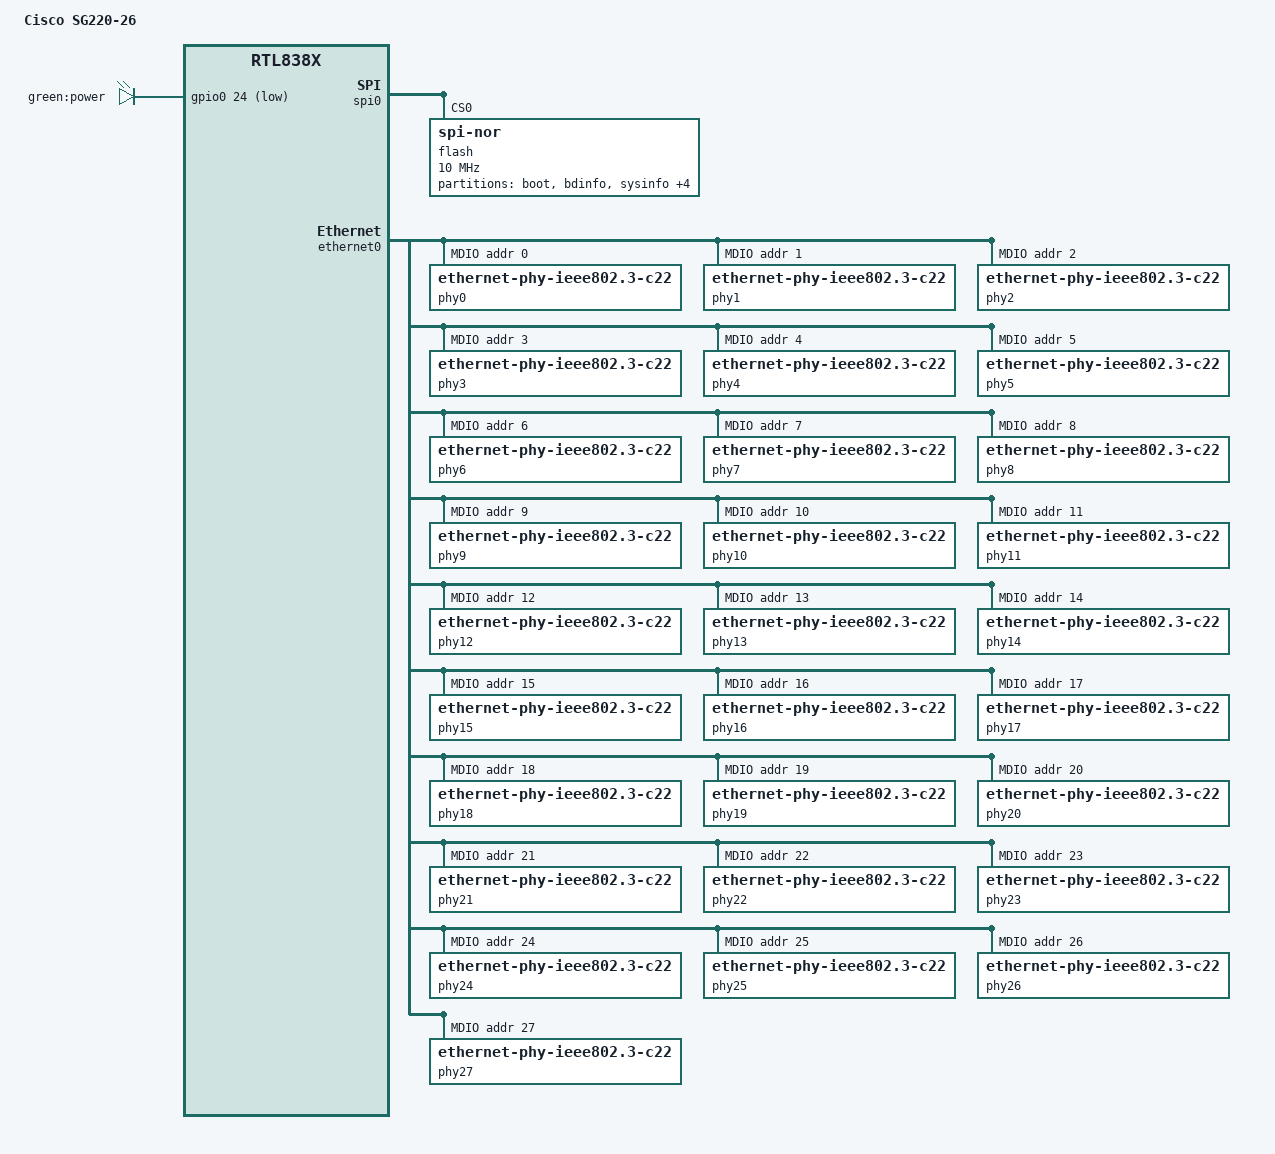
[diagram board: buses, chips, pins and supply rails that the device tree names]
/dts-v1/;

#include "rtl838x.dtsi"

#include <dt-bindings/input/input.h>
#include <dt-bindings/gpio/gpio.h>

/ {
	compatible = "cisco,sg220-26", "realtek,rtl838x-soc";
	model = "Cisco SG220-26";

	aliases {
		led-boot = &led_power;
		led-failsafe = &led_power;
		led-running = &led_power;
		led-upgrade = &led_power;
	};

	chosen {
		bootargs = "console=ttyS0,9600";
	};

	leds {
		compatible = "gpio-leds";

		led_power: power {
			label = "green:power";
			gpios = <&gpio0 24 GPIO_ACTIVE_LOW>;
		};
	};
};

&gpio0 {
	indirect-access-bus-id = <0>;
};

&spi0 {
	status = "okay";
	flash@0 {
		compatible = "jedec,spi-nor";
		reg = <0>;
		spi-max-frequency = <10000000>;

		partitions {
			compatible = "fixed-partitions";
			#address-cells = <1>;
			#size-cells = <1>;

			loader: partition@0 {
				label = "boot";
				reg = <0x0 0x80000>;
				read-only;
			};

			bdinfo: partition@1 {
				label = "bdinfo";
				reg = <0x80000 0x10000>;
				read-only;
			};

			sysinfo: partition@2 {
				label = "sysinfo";
				reg = <0x90000 0x10000>;
				read-only;
			};

			jffs2_cfg: partition@3 {
				label = "jffs2 cfg";
				reg = <0xa0000 0x400000>;
				read-only;
			};

			jffs2_log: partition@4 {
				label = "jffs2 log";
				reg = <0x4a0000 0x100000>;
				read-only;
			};

			runtime: partition@5 {
				label = "runtime";
				reg = <0x5a0000 0xd30000>;
				read-only;
			};

			runtime2: partition@6 {
				label = "runtime2";
				reg = <0x12d0000 0xd30000>;
			};
		};
	};
};

&ethernet0 {
	mdio: mdio-bus {
		compatible = "realtek,rtl838x-mdio";
		regmap = <&ethernet0>;
		#address-cells = <1>;
		#size-cells = <0>;

		/* External phy RTL8218B */
		phy0: ethernet-phy@0 {
			reg = <0>;
			compatible = "ethernet-phy-ieee802.3-c22";
		};
		phy1: ethernet-phy@1 {
			reg = <1>;
			compatible = "ethernet-phy-ieee802.3-c22";
		};
		phy2: ethernet-phy@2 {
			reg = <2>;
			compatible = "ethernet-phy-ieee802.3-c22";
		};
		phy3: ethernet-phy@3 {
			reg = <3>;
			compatible = "ethernet-phy-ieee802.3-c22";
		};
		phy4: ethernet-phy@4 {
			reg = <4>;
			compatible = "ethernet-phy-ieee802.3-c22";
		};
		phy5: ethernet-phy@5 {
			reg = <5>;
			compatible = "ethernet-phy-ieee802.3-c22";
		};
		phy6: ethernet-phy@6 {
			reg = <6>;
			compatible = "ethernet-phy-ieee802.3-c22";
		};
		phy7: ethernet-phy@7 {
			reg = <7>;
			compatible = "ethernet-phy-ieee802.3-c22";
		};

		/* Internal phy RTL8218B */
		phy8: ethernet-phy@8 {
			reg = <8>;
			compatible = "ethernet-phy-ieee802.3-c22";
			phy-is-integrated;
		};
		phy9: ethernet-phy@9 {
			reg = <9>;
			compatible = "ethernet-phy-ieee802.3-c22";
			phy-is-integrated;
		};
		phy10: ethernet-phy@10 {
			reg = <10>;
			compatible = "ethernet-phy-ieee802.3-c22";
			phy-is-integrated;
		};
		phy11: ethernet-phy@11 {
			reg = <11>;
			compatible = "ethernet-phy-ieee802.3-c22";
			phy-is-integrated;
		};
		phy12: ethernet-phy@12 {
			reg = <12>;
			compatible = "ethernet-phy-ieee802.3-c22";
			phy-is-integrated;
		};
		phy13: ethernet-phy@13 {
			reg = <13>;
			compatible = "ethernet-phy-ieee802.3-c22";
			phy-is-integrated;
		};
		phy14: ethernet-phy@14 {
			reg = <14>;
			compatible = "ethernet-phy-ieee802.3-c22";
			phy-is-integrated;
		};
		phy15: ethernet-phy@15 {
			reg = <15>;
			compatible = "ethernet-phy-ieee802.3-c22";
			phy-is-integrated;
		};

		/* External phy RTL8218B */
		phy16: ethernet-phy@16 {
			reg = <16>;
			compatible = "ethernet-phy-ieee802.3-c22";
		};
		phy17: ethernet-phy@17 {
			reg = <17>;
			compatible = "ethernet-phy-ieee802.3-c22";
		};
		phy18: ethernet-phy@18 {
			reg = <18>;
			compatible = "ethernet-phy-ieee802.3-c22";
		};
		phy19: ethernet-phy@19 {
			reg = <19>;
			compatible = "ethernet-phy-ieee802.3-c22";
		};
		phy20: ethernet-phy@20 {
			reg = <20>;
			compatible = "ethernet-phy-ieee802.3-c22";
		};
		phy21: ethernet-phy@21 {
			reg = <21>;
			compatible = "ethernet-phy-ieee802.3-c22";
		};
		phy22: ethernet-phy@22 {
			reg = <22>;
			compatible = "ethernet-phy-ieee802.3-c22";
		};
		phy23: ethernet-phy@23 {
			reg = <23>;
			compatible = "ethernet-phy-ieee802.3-c22";
		};

		/* External phy: RTL8214FC */
		phy24: ethernet-phy@24 {
			compatible = "ethernet-phy-ieee802.3-c22";
			sfp;
			media = "fibre";
			reg = <24>;
		};
		phy25: ethernet-phy@25 {
			compatible = "ethernet-phy-ieee802.3-c22";
			sfp;
			media = "fibre";
			reg = <25>;
		};
		phy26: ethernet-phy@26 {
			compatible = "ethernet-phy-ieee802.3-c22";
			sfp;
			media = "fibre";
			reg = <26>;
		};
		phy27: ethernet-phy@27 {
			compatible = "ethernet-phy-ieee802.3-c22";
			sfp;
			media = "fibre";
			reg = <27>;
		};
	};
};

&switch0 {
	ports {
		#address-cells = <1>;
		#size-cells = <0>;

		port@0 {
			reg = <0>;
			label = "p1";
			phy-handle = <&phy0>;
			phy-mode = "qsgmii";
		};
		port@1 {
			reg = <1>;
			label = "p13";
			phy-handle = <&phy1>;
			phy-mode = "qsgmii";
		};
		port@2 {
			reg = <2>;
			label = "p2";
			phy-handle = <&phy2>;
			phy-mode = "qsgmii";
		};
		port@3 {
			reg = <3>;
			label = "p14";
			phy-handle = <&phy3>;
			phy-mode = "qsgmii";
		};
		port@4 {
			reg = <4>;
			label = "p3";
			phy-handle = <&phy4>;
			phy-mode = "qsgmii";
		};
		port@5 {
			reg = <5>;
			label = "p15";
			phy-handle = <&phy5>;
			phy-mode = "qsgmii";
		};
		port@6 {
			reg = <6>;
			label = "p4";
			phy-handle = <&phy6>;
			phy-mode = "qsgmii";
		};
		port@7 {
			reg = <7>;
			label = "p16";
			phy-handle = <&phy7>;
			phy-mode = "qsgmii";
		};

		port@8 {
			reg = <8>;
			label = "p5";
			phy-handle = <&phy8>;
			phy-mode = "internal";
		};
		port@9 {
			reg = <9>;
			label = "p17";
			phy-handle = <&phy9>;
			phy-mode = "internal";
		};
		port@10 {
			reg = <10>;
			label = "p6";
			phy-handle = <&phy10>;
			phy-mode = "internal";
		};
		port@11 {
			reg = <11>;
			label = "p18";
			phy-handle = <&phy11>;
			phy-mode = "internal";
		};
		port@12 {
			reg = <12>;
			label = "p7";
			phy-handle = <&phy12>;
			phy-mode = "internal";
		};
		port@13 {
			reg = <13>;
			label = "p19";
			phy-handle = <&phy13>;
			phy-mode = "internal";
		};
		port@14 {
			reg = <14>;
			label = "p8";
			phy-handle = <&phy14>;
			phy-mode = "internal";
		};
		port@15 {
			reg = <15>;
			label = "p20";
			phy-handle = <&phy15>;
			phy-mode = "internal";
		};

		port@16 {
			reg = <16>;
			label = "p9";
			phy-handle = <&phy16>;
			phy-mode = "qsgmii";
		};
		port@17 {
			reg = <17>;
			label = "p21";
			phy-handle = <&phy17>;
			phy-mode = "qsgmii";
		};
		port@18 {
			reg = <18>;
			label = "p10";
			phy-handle = <&phy18>;
			phy-mode = "qsgmii";
		};
		port@19 {
			reg = <19>;
			label = "p22";
			phy-handle = <&phy19>;
			phy-mode = "qsgmii";
		};
		port@20 {
			reg = <20>;
			label = "p11";
			phy-handle = <&phy20>;
			phy-mode = "qsgmii";
		};
		port@21 {
			reg = <21>;
			label = "p23";
			phy-handle = <&phy21>;
			phy-mode = "qsgmii";
		};
		port@22 {
			reg = <22>;
			label = "p12";
			phy-handle = <&phy22>;
			phy-mode = "qsgmii";
		};
		port@23 {
			reg = <23>;
			label = "p24";
			phy-handle = <&phy23>;
			phy-mode = "qsgmii";
		};



		port@24 {
			reg = <24>;
			label = "g25";
			phy-handle = <&phy24>;
			phy-mode = "qsgmii";
		};
		port@25 {
			reg = <25>;
			label = "g26";
			phy-handle = <&phy25>;
			phy-mode = "qsgmii";
		};
		port@26 {
			reg = <26>;
			label = "sfp25";
			phy-handle = <&phy26>;
			phy-mode = "qsgmii";
		};
		port@27 {
			reg = <27>;
			label = "sfp26";
			phy-handle = <&phy27>;
			phy-mode = "qsgmii";
		};
		port@28 {
			ethernet = <&ethernet0>;
			reg = <28>;
			phy-mode = "internal";
			fixed-link {
				speed = <1000>;
				full-duplex;
			};
		};
	};
};
